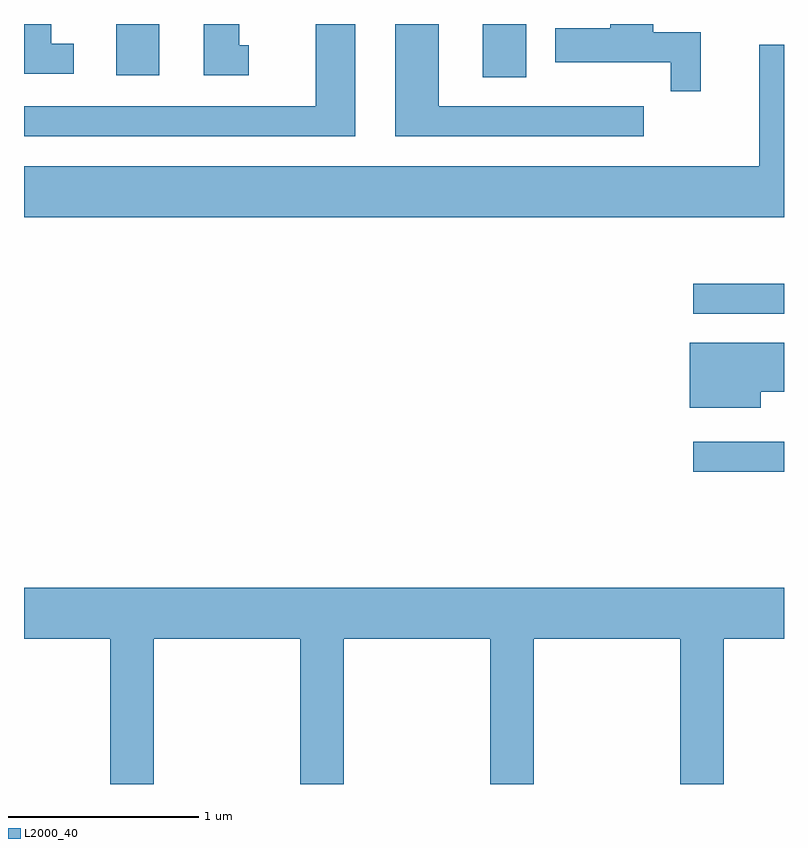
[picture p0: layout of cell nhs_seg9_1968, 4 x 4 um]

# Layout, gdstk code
import gdstk
lib = gdstk.Library(unit=1e-6, precision=1e-09)
def R(c, l, rs):  # rectangles x0, y0, x1, y1
    for r in rs: c.add(gdstk.rectangle(r[:2], r[2:], *l))
def P(c, l, *ps):  # polygons
    for p in ps: c.add(gdstk.Polygon(p, *l))
L2000_40 = (2000, 40)

nhs_seg9_1968 = lib.new_cell('nhs_seg9_1968')
R(nhs_seg9_1968, L2000_40, [(247.133,1946.076,247.611,1946.234), (247.133,1946.906,247.611,1947.064), (246.026,1948.151,246.254,1948.432), (244.096,1948.161,244.324,1948.432)])
P(nhs_seg9_1968, L2000_40, [(247.174,1948.389),(246.924,1948.389),(246.924,1948.432),(246.696,1948.432),(246.696,1948.409),(246.406,1948.409),(246.406,1948.231),(247.016,1948.231),(247.016,1948.078),(247.174,1948.078)],
  [(244.793,1948.319),(244.744,1948.319),(244.744,1948.432),(244.556,1948.432),(244.556,1948.161),(244.793,1948.161)],
  [(243.873,1948.329),(243.754,1948.329),(243.754,1948.432),(243.611,1948.432),(243.611,1948.171),(243.873,1948.171)],
  [(245.354,1948.432),(245.146,1948.432),(245.146,1947.999),(243.611,1947.999),(243.611,1947.841),(245.354,1947.841)],
  [(246.873,1947.999),(245.794,1947.999),(245.794,1948.432),(245.566,1948.432),(245.566,1947.841),(246.873,1947.841)],
  [(247.611,1948.323),(247.481,1948.323),(247.481,1947.684),(243.611,1947.684),(243.611,1947.416),(247.611,1947.416)],
  [(247.489,1946.496),(247.611,1946.496),(247.611,1946.754),(247.116,1946.754),(247.116,1946.411),(247.489,1946.411)],
  [(244.294,1945.196),(245.066,1945.196),(245.066,1944.432),(245.294,1944.432),(245.294,1945.196),(246.066,1945.196),(246.066,1944.432),(246.294,1944.432),(246.294,1945.196),(247.066,1945.196),(247.066,1944.432),(247.294,1944.432),(247.294,1945.196),(247.611,1945.196),(247.611,1945.464),(243.611,1945.464),(243.611,1945.196),(244.066,1945.196),(244.066,1944.432),(244.294,1944.432)])

lib.write_gds('nhs_seg9_1968.gds')
